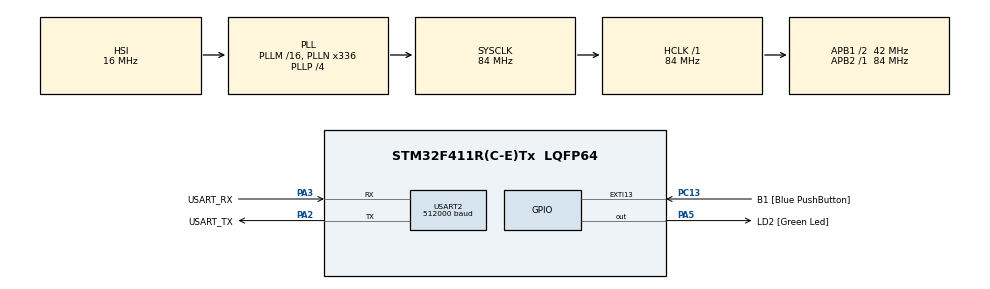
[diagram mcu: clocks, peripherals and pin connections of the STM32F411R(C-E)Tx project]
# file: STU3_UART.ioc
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Mcu.Family=STM32F4
Mcu.Name=STM32F411R(C-E)Tx
Mcu.Package=LQFP64
NVIC.PriorityGroup=NVIC_PRIORITYGROUP_0
NVIC.USART2_IRQn=true\:0\:0\:false\:false\:true\:true\:true\:true
PA13.GPIO_Label=TMS
PA13.Mode=Serial_Wire
PA13.Signal=SYS_JTMS-SWDIO
PA14.GPIO_Label=TCK
PA14.Mode=Serial_Wire
PA14.Signal=SYS_JTCK-SWCLK
PA2.GPIO_Label=USART_TX
PA2.Mode=Asynchronous
PA2.Signal=USART2_TX
PA3.GPIO_Label=USART_RX
PA3.Mode=Asynchronous
PA3.Signal=USART2_RX
PA5.GPIO_Label=LD2 [Green Led]
PA5.Signal=GPIO_Output
PB3.GPIO_Label=SWO
PB3.Signal=SYS_JTDO-SWO
PC13-ANTI_TAMP.GPIO_Label=B1 [Blue PushButton]
PC13-ANTI_TAMP.GPIO_ModeDefaultEXTI=GPIO_MODE_IT_FALLING
PC13-ANTI_TAMP.Signal=GPXTI13
PC14-OSC32_IN.Mode=LSE-External-Oscillator
PC14-OSC32_IN.Signal=RCC_OSC32_IN
PC15-OSC32_OUT.Mode=LSE-External-Oscillator
PC15-OSC32_OUT.Signal=RCC_OSC32_OUT
PH0\ -\ OSC_IN.Mode=HSE-External-Clock-Source
PH0\ -\ OSC_IN.Signal=RCC_OSC_IN
PH1\ -\ OSC_OUT.Mode=HSE-External-Clock-Source
PH1\ -\ OSC_OUT.Signal=RCC_OSC_OUT
ProjectManager.HeapSize=0x200
ProjectManager.StackSize=0x400
ProjectManager.TargetToolchain=STM32CubeIDE
RCC.48MHZClocksFreq_Value=84000000
RCC.AHBFreq_Value=84000000
RCC.APB1CLKDivider=RCC_HCLK_DIV2
RCC.APB1Freq_Value=42000000
RCC.APB1TimFreq_Value=84000000
RCC.APB2Freq_Value=84000000
RCC.APB2TimFreq_Value=84000000
RCC.CortexFreq_Value=84000000
RCC.FLatency-AdvancedSettings=FLASH_LATENCY_2
RCC.HCLKFreq_Value=84000000
RCC.HSE_VALUE=8000000
RCC.HSI_VALUE=16000000
RCC.PLLN=336
RCC.PLLP=RCC_PLLP_DIV4
RCC.SYSCLKFreq_VALUE=84000000
RCC.SYSCLKSource=RCC_SYSCLKSOURCE_PLLCLK
RCC.VCOOutputFreq_Value=336000000
USART2.BaudRate=512000
USART2.Parity=PARITY_EVEN
USART2.VirtualMode=VM_ASYNC
USART2.WordLength=WORDLENGTH_9B
board=NUCLEO-F411RE

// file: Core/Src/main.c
/* USER CODE BEGIN Header */
/**
  ******************************************************************************
  * @file           : main.c
  * @brief          : Main program body
  ******************************************************************************
  * @attention
  *
  * Copyright (c) 2022 STMicroelectronics.
  * All rights reserved.
  *
  * This software is licensed under terms that can be found in the LICENSE file
  * in the root directory of this software component.
  * If no LICENSE file comes with this software, it is provided AS-IS.
  *
  ******************************************************************************
  */
/* USER CODE END Header */
#include "main.h"

/* USER CODE BEGIN Includes */
#include <stdio.h>
#include <string.h>
/* USER CODE END Includes */

 UART_HandleTypeDef huart2;

/* USER CODE BEGIN PV */
char TxDataBuffer[32] =
{ 0 };
//uint16_t
uint8_t RxDataBuffer[32] =
{ 0 };
uint8_t storeRx[10] =
{ 0 };
uint8_t temp_s[2]="Xu";
uint8_t temp_f[2]="Fn";
uint8_t Posdata;
int StorePos = 0;
int Posdata_o = 0;
int DataIn;
uint8_t M_state = 0;
uint8_t N_state = 0;
uint8_t chkStart;
uint8_t NameM;
uint8_t StartM;
uint8_t chkM = 0;
uint8_t dataFN = 0;
uint8_t Nstation;
uint8_t dataF1;
uint8_t dataF2;
uint8_t dataFSum;
uint8_t chksum;
uint8_t chksum1;
uint8_t chksum2;
uint8_t chksum3;
uint8_t countN = 0;
uint8_t DataNew;
/* USER CODE END PV */

void SystemClock_Config(void);
static void MX_GPIO_Init(void);
static void MX_USART2_UART_Init(void);
/* USER CODE BEGIN PFP */
void All_mode();
void UARTRecieveIT();
/* USER CODE END PFP */

int main(void)
{

  /* MCU Configuration--------------------------------------------------------*/

  /* Reset of all peripherals, Initializes the Flash interface and the Systick. */
  HAL_Init();

  /* Configure the system clock */
  SystemClock_Config();

  /* Initialize all configured peripherals */
  MX_GPIO_Init();
  MX_USART2_UART_Init();
  /* USER CODE BEGIN 2 */
  {
	  //HAL_UART_Transmit(&huart2, (uint8_t*)temp_s, 9 ,1000);
	  //HAL_UART_Transmit(&huart2, (uint8_t*)temp_f, 9 ,1000);
  }
  /* USER CODE END 2 */

  /* Infinite loop */
  /* USER CODE BEGIN WHILE */
  while (1)
  {
	  /*Method 2 Interrupt Mode*/
	  //HAL_UART_Receive_IT(&huart2,  (uint8_t*)RxDataBuffer, 32);
	  /*Method 2 W/ 1 Char Received*/
	  UARTRecieveIT();
    /* USER CODE END WHILE */

  }
}

void SystemClock_Config(void)
{
  RCC_OscInitTypeDef RCC_OscInitStruct = {0};
  RCC_ClkInitTypeDef RCC_ClkInitStruct = {0};

  /** Configure the main internal regulator output voltage
  */
  __HAL_RCC_PWR_CLK_ENABLE();
  __HAL_PWR_VOLTAGESCALING_CONFIG(PWR_REGULATOR_VOLTAGE_SCALE1);

  /** Initializes the RCC Oscillators according to the specified parameters
  * in the RCC_OscInitTypeDef structure.
  */
  RCC_OscInitStruct.OscillatorType = RCC_OSCILLATORTYPE_HSI;
  RCC_OscInitStruct.HSIState = RCC_HSI_ON;
  RCC_OscInitStruct.HSICalibrationValue = RCC_HSICALIBRATION_DEFAULT;
  RCC_OscInitStruct.PLL.PLLState = RCC_PLL_ON;
  RCC_OscInitStruct.PLL.PLLSource = RCC_PLLSOURCE_HSI;
  RCC_OscInitStruct.PLL.PLLM = 16;
  RCC_OscInitStruct.PLL.PLLN = 336;
  RCC_OscInitStruct.PLL.PLLP = RCC_PLLP_DIV4;
  RCC_OscInitStruct.PLL.PLLQ = 4;
  if (HAL_RCC_OscConfig(&RCC_OscInitStruct) != HAL_OK)
  {
    Error_Handler();
  }

  /** Initializes the CPU, AHB and APB buses clocks
  */
  RCC_ClkInitStruct.ClockType = RCC_CLOCKTYPE_HCLK|RCC_CLOCKTYPE_SYSCLK
                              |RCC_CLOCKTYPE_PCLK1|RCC_CLOCKTYPE_PCLK2;
  RCC_ClkInitStruct.SYSCLKSource = RCC_SYSCLKSOURCE_PLLCLK;
  RCC_ClkInitStruct.AHBCLKDivider = RCC_SYSCLK_DIV1;
  RCC_ClkInitStruct.APB1CLKDivider = RCC_HCLK_DIV2;
  RCC_ClkInitStruct.APB2CLKDivider = RCC_HCLK_DIV1;

  if (HAL_RCC_ClockConfig(&RCC_ClkInitStruct, FLASH_LATENCY_2) != HAL_OK)
  {
    Error_Handler();
  }
}

static void MX_USART2_UART_Init(void)
{

  huart2.Instance = USART2;
  huart2.Init.BaudRate = 512000;
  huart2.Init.WordLength = UART_WORDLENGTH_9B;
  huart2.Init.StopBits = UART_STOPBITS_1;
  huart2.Init.Parity = UART_PARITY_EVEN;
  huart2.Init.Mode = UART_MODE_TX_RX;
  huart2.Init.HwFlowCtl = UART_HWCONTROL_NONE;
  huart2.Init.OverSampling = UART_OVERSAMPLING_16;
  if (HAL_UART_Init(&huart2) != HAL_OK)
  {
    Error_Handler();
  }

}

static void MX_GPIO_Init(void)
{
  GPIO_InitTypeDef GPIO_InitStruct = {0};

  /* GPIO Ports Clock Enable */
  __HAL_RCC_GPIOC_CLK_ENABLE();
  __HAL_RCC_GPIOH_CLK_ENABLE();
  __HAL_RCC_GPIOA_CLK_ENABLE();
  __HAL_RCC_GPIOB_CLK_ENABLE();

  /*Configure GPIO pin Output Level */
  HAL_GPIO_WritePin(LD2_GPIO_Port, LD2_Pin, GPIO_PIN_RESET);

  /*Configure GPIO pin : B1_Pin */
  GPIO_InitStruct.Pin = B1_Pin;
  GPIO_InitStruct.Mode = GPIO_MODE_IT_FALLING;
  GPIO_InitStruct.Pull = GPIO_NOPULL;
  HAL_GPIO_Init(B1_GPIO_Port, &GPIO_InitStruct);

  /*Configure GPIO pin : LD2_Pin */
  GPIO_InitStruct.Pin = LD2_Pin;
  GPIO_InitStruct.Mode = GPIO_MODE_OUTPUT_PP;
  GPIO_InitStruct.Pull = GPIO_NOPULL;
  GPIO_InitStruct.Speed = GPIO_SPEED_FREQ_LOW;
  HAL_GPIO_Init(LD2_GPIO_Port, &GPIO_InitStruct);

}

/* USER CODE BEGIN 4 */
void All_mode()
{
	switch (chkM){
		case 0:
			StartM = DataIn;
			chkStart = DataIn >> 4;
			if (chkStart == 9){
				chkM = 1;
			}else{
				chkM = 0;
			}
			break;
		case 1:
			NameM = (DataIn & 15);
			if (NameM >= 1 && NameM <= 14){
				chkM = 2;
			}else{
				chkM = 0;
			}
			break;
		case 2:
			switch (NameM){
				case 1:
					if (dataFN == 2){
						dataF1 = DataIn;
					}
					if(dataFN == 3){
						dataF2 = DataIn;
					}
					chksum = DataIn;
					chksum2 = ~(StartM + dataF1 + dataF2);
					if (chksum == chksum2){
						M_state = 1;
						HAL_UART_Transmit(&huart2, (uint8_t*)temp_s, 2 ,1000); //Xu
						chkM = 0;
						dataFN = 0;
					}
					break;
				case 2:
					chksum = DataIn;
					chksum1 = ~(StartM);
					if (chksum == chksum1){
						M_state = 2;
						HAL_UART_Transmit(&huart2, (uint8_t*)temp_s, 2 ,1000); //Xu
						chkM = 0;
						dataFN = 0;
					}

					break;
				case 3:
					chksum = DataIn;
					chksum1 = ~(StartM);
					if (chksum == chksum1){
						M_state = 3;
						HAL_UART_Transmit(&huart2, (uint8_t*)temp_s, 2 ,1000); //Xu
						chkM = 0;
						dataFN = 0;
					}
					break;
				case 4:
					if (dataFN == 2){
						dataF1 = DataIn;
					}
					if(dataFN == 3){
						dataF2 = DataIn;
					}
					chksum = DataIn;
					chksum2 = ~(StartM + dataF1 + dataF2);
					if (chksum == chksum2){
						M_state = 4;
						HAL_UART_Transmit(&huart2, (uint8_t*)temp_s, 2 ,1000);
						chkM = 0;
						dataFN = 0;
					}
					break;
				case 5:
					if (dataFN == 2){
						dataF1 = DataIn;
					}
					if(dataFN == 3){
						dataF2 = DataIn;
					}
					chksum = DataIn;
					chksum2 = ~(StartM + dataF1 + dataF2);
					if (chksum == chksum2){
						M_state = 5;
						HAL_UART_Transmit(&huart2, (uint8_t*)temp_s, 2 ,1000);
						chkM = 0;
						dataFN = 0;
					}
					break;
				case 6:
					if (dataFN == 2){
						dataF1 = DataIn;
					}
					if(dataFN == 3){
						dataF2 = DataIn;
					}
					chksum = DataIn;
					chksum2 = ~(StartM + dataF1 + dataF2);
					if (chksum == chksum2){
						M_state = 6;
						HAL_UART_Transmit(&huart2, (uint8_t*)temp_s, 2 ,1000);
						chkM = 0;
						dataFN = 0;
					}
					break;
				case 7:
					if (dataFN == 2){
						Nstation = DataIn;
					}
					if (dataFN < Nstation + 3){
						if (dataFN == countN + 3){
							dataFSum += DataIn;
							countN += 1;
						}
					}
					chksum = DataIn;
					chksum3 = ~(StartM + Nstation + dataFSum);
					if (chksum == chksum3){
						M_state = 7;
						HAL_UART_Transmit(&huart2, (uint8_t*)temp_s, 2 ,1000);
						chkM = 0;
						dataFN = 0;
						countN = 0;
					}
					break;
				case 8:
					chksum = DataIn;
					chksum1 = ~(StartM);
					if (chksum == chksum1){
						M_state = 8;
						HAL_UART_Transmit(&huart2, (uint8_t*)temp_s, 2 ,1000); //Xu
						HAL_Delay(1000);
						HAL_UART_Transmit(&huart2, (uint8_t*)temp_f, 2 ,1000);//Fn
						chkM = 0;
						dataFN = 0;
					}
					break;
				case 9:
					chksum = DataIn;
					chksum1 = ~(StartM);
					if (chksum == chksum1){
						M_state = 9;
						HAL_UART_Transmit(&huart2, (uint8_t*)temp_s, 2 ,1000); //Xu
						chkM = 0;
						dataFN = 0;
					}
					break;
				case 10:
					chksum = DataIn;
					chksum1 = ~(StartM);
					if (chksum == chksum1){
						M_state = 10;
						HAL_UART_Transmit(&huart2, (uint8_t*)temp_s, 2 ,1000); //Xu
						chkM = 0;
						dataFN = 0;
					}
					break;
				case 11:
					chksum = DataIn;
					chksum1 = ~(StartM);
					if (chksum == chksum1){
						M_state = 11;
						HAL_UART_Transmit(&huart2, (uint8_t*)temp_s, 2 ,1000); //Xu
						chkM = 0;
						dataFN = 0;
					}
				case 12:
					chksum = DataIn;
					chksum1 = ~(StartM);
					if (chksum == chksum1){
						M_state = 12;
						HAL_UART_Transmit(&huart2, (uint8_t*)temp_s, 2 ,1000); //Xu
						chkM = 0;
						dataFN = 0;
					}
					break;
				case 13:
					chksum = DataIn;
					chksum1 = ~(StartM);
					if (chksum == chksum1){
						M_state = 13;
						HAL_UART_Transmit(&huart2, (uint8_t*)temp_s, 2 ,1000); //Xu
						chkM = 0;
						dataFN = 0;
					}
					break;
				case 14:
					chksum = DataIn;
					chksum1 = ~(StartM);
					if (chksum == chksum1){
						M_state = 14;
						HAL_UART_Transmit(&huart2, (uint8_t*)temp_s, 2 ,1000); //Xu
						chkM = 0;
						dataFN = 0;
					}
					break;
			}
	}

}
void UARTRecieveIT()
{
	static uint32_t dataPos =0;
	int16_t data=-1;
	HAL_UART_Receive_IT(&huart2,  (uint8_t*)RxDataBuffer, 32);
	if(huart2.RxXferSize - huart2.RxXferCount!=dataPos)
	{
		data=RxDataBuffer[dataPos];
		DataIn = data;
		dataPos= (dataPos+1)%huart2.RxXferSize;
		Posdata = dataPos;
		dataFN += 1;
	}
	All_mode();

}

void HAL_UART_RxCpltCallback(UART_HandleTypeDef *huart)
{
	//sprintf(TxDataBuffer, "Received:[%s]\r\n", RxDataBuffer);//s
	//HAL_UART_Transmit(&huart2, (uint8_t*)TxDataBuffer, strlen(TxDataBuffer), 1000);
}
/* USER CODE END 4 */

void Error_Handler(void)
{
  __disable_irq();
  while (1)
  {
  }
}
